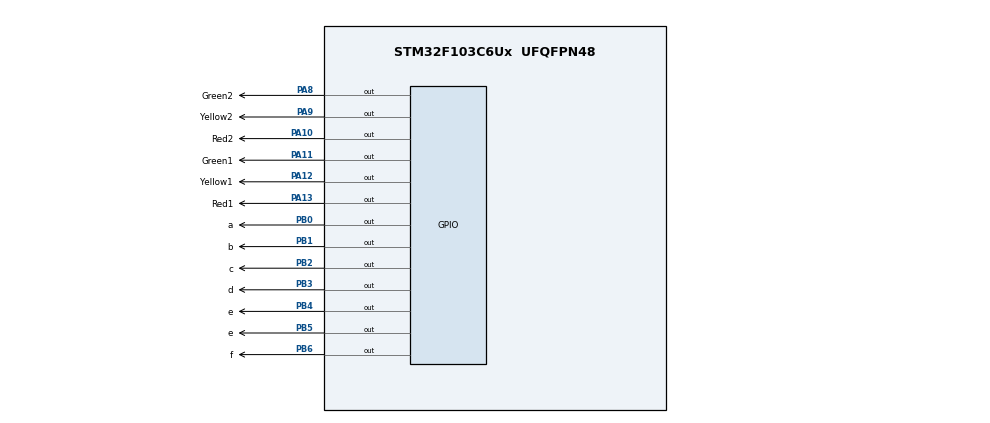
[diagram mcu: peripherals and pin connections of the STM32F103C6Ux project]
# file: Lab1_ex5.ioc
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Mcu.Family=STM32F1
Mcu.Name=STM32F103C6Ux
Mcu.Package=UFQFPN48
NVIC.PriorityGroup=NVIC_PRIORITYGROUP_4
PA10.GPIO_Label=Red2
PA10.Signal=GPIO_Output
PA11.GPIO_Label=Green1
PA11.Signal=GPIO_Output
PA12.GPIO_Label=Yellow1
PA12.Signal=GPIO_Output
PA13.GPIO_Label=Red1
PA13.Signal=GPIO_Output
PA8.GPIO_Label=Green2
PA8.Signal=GPIO_Output
PA9.GPIO_Label=Yellow2
PA9.Signal=GPIO_Output
PB0.GPIO_Label=a
PB0.Signal=GPIO_Output
PB1.GPIO_Label=b
PB1.Signal=GPIO_Output
PB2.GPIO_Label=c
PB2.Signal=GPIO_Output
PB3.GPIO_Label=d
PB3.Signal=GPIO_Output
PB4.GPIO_Label=e
PB4.Signal=GPIO_Output
PB5.GPIO_Label=e
PB5.Signal=GPIO_Output
PB6.GPIO_Label=f
PB6.Signal=GPIO_Output
ProjectManager.HeapSize=0x200
ProjectManager.StackSize=0x400
ProjectManager.TargetToolchain=STM32CubeIDE
RCC.APB1Freq_Value=8000000
RCC.APB2Freq_Value=8000000
VP_SYS_VS_ND.Mode=No_Debug
board=custom

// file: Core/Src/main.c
/* USER CODE BEGIN Header */
/**
  ******************************************************************************
  * @file           : main.c
  * @brief          : Main program body
  ******************************************************************************
  * @attention
  *
  * <h2><center>&copy; Copyright (c) 2023 STMicroelectronics.
  * All rights reserved.</center></h2>
  *
  * This software component is licensed by ST under BSD 3-Clause license,
  * the "License"; You may not use this file except in compliance with the
  * License. You may obtain a copy of the License at:
  *                        opensource.org/licenses/BSD-3-Clause
  *
  ******************************************************************************
  */
/* USER CODE END Header */
#include "main.h"

void SystemClock_Config(void);
static void MX_GPIO_Init(void);

/* USER CODE BEGIN 0 */
void display7SEG ( int num ) {

	HAL_GPIO_WritePin ( GPIOB , GPIO_PIN_0|GPIO_PIN_1|GPIO_PIN_2|GPIO_PIN_3|GPIO_PIN_4|GPIO_PIN_5|GPIO_PIN_6 , GPIO_PIN_SET ) ;
	switch (num) {
        case 0:
        	HAL_GPIO_WritePin ( GPIOB , GPIO_PIN_0|GPIO_PIN_1|GPIO_PIN_2|GPIO_PIN_3|GPIO_PIN_4|GPIO_PIN_5 , GPIO_PIN_RESET ) ;
            break;
        case 1:
        	HAL_GPIO_WritePin ( GPIOB , GPIO_PIN_1|GPIO_PIN_2 , GPIO_PIN_RESET ) ;
            break;
        case 2:
        	HAL_GPIO_WritePin ( GPIOB , GPIO_PIN_0|GPIO_PIN_1|GPIO_PIN_3|GPIO_PIN_4|GPIO_PIN_6 , GPIO_PIN_RESET ) ;
            break;
        case 3:
        	HAL_GPIO_WritePin ( GPIOB , GPIO_PIN_0|GPIO_PIN_1|GPIO_PIN_2|GPIO_PIN_3|GPIO_PIN_6 , GPIO_PIN_RESET ) ;
            break;
        case 4:
        	HAL_GPIO_WritePin ( GPIOB , GPIO_PIN_1|GPIO_PIN_2|GPIO_PIN_5|GPIO_PIN_6 , GPIO_PIN_RESET ) ;
            break;
        case 5:
        	HAL_GPIO_WritePin ( GPIOB , GPIO_PIN_0|GPIO_PIN_2|GPIO_PIN_3|GPIO_PIN_5|GPIO_PIN_6 , GPIO_PIN_RESET ) ;
            break;
        case 6:
        	HAL_GPIO_WritePin ( GPIOB , GPIO_PIN_0|GPIO_PIN_2|GPIO_PIN_3|GPIO_PIN_4|GPIO_PIN_5|GPIO_PIN_6 , GPIO_PIN_RESET ) ;
            break;
        case 7:
        	HAL_GPIO_WritePin ( GPIOB , GPIO_PIN_0|GPIO_PIN_1|GPIO_PIN_2, GPIO_PIN_RESET ) ;
            break;
        case 8:
        	HAL_GPIO_WritePin ( GPIOB , GPIO_PIN_0|GPIO_PIN_1|GPIO_PIN_2|GPIO_PIN_3|GPIO_PIN_4|GPIO_PIN_5|GPIO_PIN_6 , GPIO_PIN_RESET ) ;
            break;
        case 9:
        	HAL_GPIO_WritePin ( GPIOB , GPIO_PIN_0|GPIO_PIN_1|GPIO_PIN_2|GPIO_PIN_3|GPIO_PIN_5|GPIO_PIN_6 , GPIO_PIN_RESET ) ;
            break;

    }
}
/* USER CODE END 0 */

int main(void)
{

  /* MCU Configuration--------------------------------------------------------*/

  /* Reset of all peripherals, Initializes the Flash interface and the Systick. */
  HAL_Init();

  /* Configure the system clock */
  SystemClock_Config();

  /* Initialize all configured peripherals */
  MX_GPIO_Init();
   /* USER CODE BEGIN 2 */
  HAL_GPIO_WritePin ( GPIOA , GPIO_PIN_13 , GPIO_PIN_RESET ) ;//red1
   HAL_GPIO_WritePin ( GPIOA , GPIO_PIN_12 , GPIO_PIN_SET ) ;//yellow1
   HAL_GPIO_WritePin ( GPIOA , GPIO_PIN_11 , GPIO_PIN_SET ) ;//green1
   HAL_GPIO_WritePin ( GPIOA , GPIO_PIN_10 , GPIO_PIN_SET ) ;//red2
   HAL_GPIO_WritePin ( GPIOA , GPIO_PIN_9 , GPIO_PIN_SET ) ;//yellow2
   HAL_GPIO_WritePin ( GPIOA , GPIO_PIN_8 , GPIO_PIN_RESET ) ;//green2
    int count_1 = 5;
    int count_2 = 3;
    /* USER CODE END 2 */
    /* Infinite loop */
    /* USER CODE BEGIN WHILE */
    while (1)
    {
  		  GPIO_PinState pa13State = HAL_GPIO_ReadPin(GPIOA, GPIO_PIN_13);
  		  GPIO_PinState pa12State = HAL_GPIO_ReadPin(GPIOA, GPIO_PIN_12);
  		  GPIO_PinState pa11State = HAL_GPIO_ReadPin(GPIOA, GPIO_PIN_11);

  		  if (pa13State == GPIO_PIN_RESET&&count_1==0){
  			  HAL_GPIO_TogglePin ( GPIOA , GPIO_PIN_13 | GPIO_PIN_11 );
  			  count_1 = 5;
  		  }
  		  if (pa12State == GPIO_PIN_RESET&&count_1==0){
  			  HAL_GPIO_TogglePin ( GPIOA , GPIO_PIN_12 | GPIO_PIN_13 );
  			  count_1 = 5;
  		  }
  		  if (pa11State == GPIO_PIN_RESET&&count_1==2){
  			  HAL_GPIO_TogglePin ( GPIOA , GPIO_PIN_11 | GPIO_PIN_12 );
  		  }

  	 	   if(count_2==0){

  	 		  GPIO_PinState pa10State = HAL_GPIO_ReadPin(GPIOA, GPIO_PIN_10);
  	 		  GPIO_PinState pa9State = HAL_GPIO_ReadPin(GPIOA, GPIO_PIN_9);
  	 		  GPIO_PinState pa8State = HAL_GPIO_ReadPin(GPIOA, GPIO_PIN_8);

  	 		  if (pa10State == GPIO_PIN_RESET){
  	 			  HAL_GPIO_TogglePin ( GPIOA , GPIO_PIN_10 | GPIO_PIN_8 );
  	 			  count_2 = 3;
  	 		  }
  	 		  if (pa9State == GPIO_PIN_RESET){
  	 			  HAL_GPIO_TogglePin ( GPIOA , GPIO_PIN_9 | GPIO_PIN_10 );
  	 			  count_2 = 5;
  	 		  }
  	 		  if (pa8State == GPIO_PIN_RESET){
  	 			  HAL_GPIO_TogglePin ( GPIOA , GPIO_PIN_8 | GPIO_PIN_9 );
  	 			  count_2 = 2;
  	 		  }
  	   }
  	 	display7SEG (count_1);
        count_1 = count_1 - 1 ;
        count_2 = count_2 - 1 ;
  	   HAL_Delay (1000) ;
    }
 }
void SystemClock_Config(void)
{
  RCC_OscInitTypeDef RCC_OscInitStruct = {0};
  RCC_ClkInitTypeDef RCC_ClkInitStruct = {0};

  /** Initializes the RCC Oscillators according to the specified parameters
  * in the RCC_OscInitTypeDef structure.
  */
  RCC_OscInitStruct.OscillatorType = RCC_OSCILLATORTYPE_HSI;
  RCC_OscInitStruct.HSIState = RCC_HSI_ON;
  RCC_OscInitStruct.HSICalibrationValue = RCC_HSICALIBRATION_DEFAULT;
  RCC_OscInitStruct.PLL.PLLState = RCC_PLL_NONE;
  if (HAL_RCC_OscConfig(&RCC_OscInitStruct) != HAL_OK)
  {
    Error_Handler();
  }
  /** Initializes the CPU, AHB and APB buses clocks
  */
  RCC_ClkInitStruct.ClockType = RCC_CLOCKTYPE_HCLK|RCC_CLOCKTYPE_SYSCLK
                              |RCC_CLOCKTYPE_PCLK1|RCC_CLOCKTYPE_PCLK2;
  RCC_ClkInitStruct.SYSCLKSource = RCC_SYSCLKSOURCE_HSI;
  RCC_ClkInitStruct.AHBCLKDivider = RCC_SYSCLK_DIV1;
  RCC_ClkInitStruct.APB1CLKDivider = RCC_HCLK_DIV1;
  RCC_ClkInitStruct.APB2CLKDivider = RCC_HCLK_DIV1;

  if (HAL_RCC_ClockConfig(&RCC_ClkInitStruct, FLASH_LATENCY_0) != HAL_OK)
  {
    Error_Handler();
  }
}

static void MX_GPIO_Init(void)
{
  GPIO_InitTypeDef GPIO_InitStruct = {0};

  /* GPIO Ports Clock Enable */
  __HAL_RCC_GPIOB_CLK_ENABLE();
  __HAL_RCC_GPIOA_CLK_ENABLE();

  /*Configure GPIO pin Output Level */
  HAL_GPIO_WritePin(GPIOB, a_Pin|b_Pin|c_Pin|d_Pin
                          |e_Pin|eB5_Pin|f_Pin, GPIO_PIN_RESET);

  /*Configure GPIO pin Output Level */
  HAL_GPIO_WritePin(GPIOA, Green2_Pin|Yellow2_Pin|Red2_Pin|Green1_Pin
                          |Yellow1_Pin|Red1_Pin, GPIO_PIN_RESET);

  /*Configure GPIO pins : a_Pin b_Pin c_Pin d_Pin
                           e_Pin eB5_Pin f_Pin */
  GPIO_InitStruct.Pin = a_Pin|b_Pin|c_Pin|d_Pin
                          |e_Pin|eB5_Pin|f_Pin;
  GPIO_InitStruct.Mode = GPIO_MODE_OUTPUT_PP;
  GPIO_InitStruct.Pull = GPIO_NOPULL;
  GPIO_InitStruct.Speed = GPIO_SPEED_FREQ_LOW;
  HAL_GPIO_Init(GPIOB, &GPIO_InitStruct);

  /*Configure GPIO pins : Green2_Pin Yellow2_Pin Red2_Pin Green1_Pin
                           Yellow1_Pin Red1_Pin */
  GPIO_InitStruct.Pin = Green2_Pin|Yellow2_Pin|Red2_Pin|Green1_Pin
                          |Yellow1_Pin|Red1_Pin;
  GPIO_InitStruct.Mode = GPIO_MODE_OUTPUT_PP;
  GPIO_InitStruct.Pull = GPIO_NOPULL;
  GPIO_InitStruct.Speed = GPIO_SPEED_FREQ_LOW;
  HAL_GPIO_Init(GPIOA, &GPIO_InitStruct);

}

void Error_Handler(void)
{
  __disable_irq();
  while (1)
  {
  }
}

/************************ (C) COPYRIGHT STMicroelectronics *****END OF FILE****/
